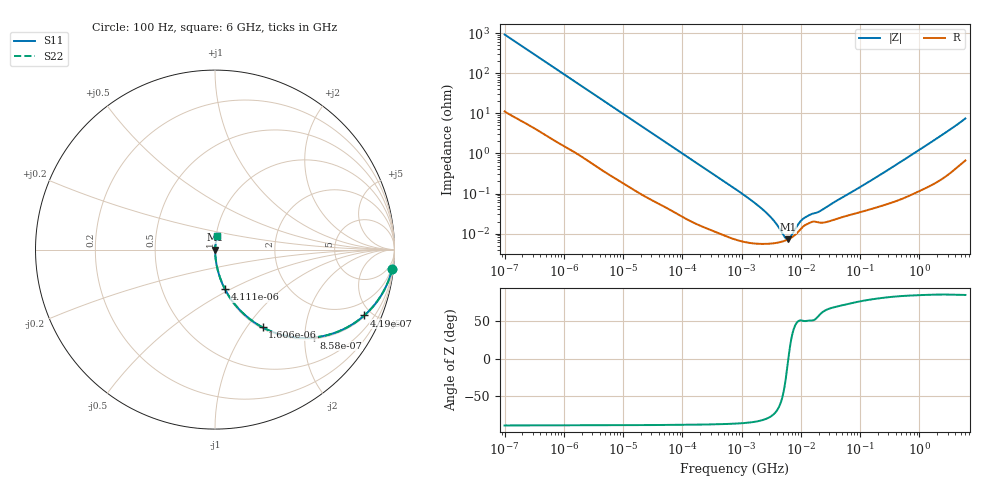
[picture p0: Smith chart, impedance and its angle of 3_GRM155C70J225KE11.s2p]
!Murata Part Number: GRM155C70J225KE11
!These Parameters are Measured in Series Mode Connection
!  o--ll--o
!Port1  Port2
!  o------o
!Operation Temp=25[C], DC Bias Voltage=0[V]
!Freq. Start=100[Hz] Stop=6000000000[Hz] 401[Steps]
# Hz S RI R 50
!Freq.(Hz) S11(Real) S11(Imag) S21(Real) S21(Imag) S12(Real) S12(Imag) S22(Real) S22(Imag)
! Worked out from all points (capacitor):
!   401 points, 100 Hz to 6 GHz, reference 50 ohm
!   read as one part in series: C = 1.7 uF near 109 Hz
!   lowest |Z| = 7.17 mohm at 6.075 MHz (marker M1)
!   series resonance near 6.167 MHz, so ESL is about 390 pH
!   S11 on the Smith chart (normalised r, x): 100 Hz: 1, -19; 419 Hz: 1.07, -4.50; 858 Hz: 1.03, -2.21; 1.606 kHz: 1.02, -1.19; 4.111 kHz: 1.01, -0.47; 6 GHz: 1.01, +0.15
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100  0.9874 -0.1058  0.0126 0.1058  0.0126 0.1058  0.9874 -0.1058
224  0.9434 -0.2245  0.0566 0.2245  0.0566 0.2245  0.9434 -0.2245
419  0.8316 -0.3669  0.1684 0.3669  0.1684 0.3669  0.8316 -0.3669
600  0.7108 -0.4459  0.2892 0.4459  0.2892 0.4459  0.7108 -0.4459
858  0.55 -0.4897  0.45 0.4897  0.45 0.4897  0.55 -0.4897
1606  0.2654 -0.4331  0.7346 0.4331  0.7346 0.4331  0.2654 -0.4331
2008  0.1898 -0.3836  0.8102 0.3836  0.8102 0.3836  0.1898 -0.3836
4111  0.0558 -0.221  0.9442 0.221  0.9442 0.221  0.0558 -0.221
11009  0.00943 -0.0877  0.9906 0.0877  0.9906 0.0877  0.00943 -0.0877
40335  0.00115 -0.0245  0.9988 0.0245  0.9988 0.0245  0.00115 -0.0245
774597  7.32e-05 -0.00132  0.9999 0.00132  0.9999 0.00132  7.32e-05 -0.00132
2481164  5.54e-05 -0.000353  0.9999 0.000353  0.9999 0.000353  5.54e-05 -0.000353
3394479  5.7e-05 -0.000215  0.9999 0.000215  0.9999 0.000215  5.7e-05 -0.000215
4856642  6.32e-05 -8.2e-05  0.9999 8.2e-05  0.9999 8.2e-05  6.32e-05 -8.2e-05
6075234  7.15e-05 -5e-06  0.9999 5e-06  0.9999 5e-06  7.15e-05 -5e-06
7266822  8.31e-05 5.63e-05  0.9999 -5.63e-05  0.9999 -5.63e-05  8.31e-05 5.63e-05
1.039699e7  0.000139 0.00017  0.9999 -0.00017  0.9999 -0.00017  0.000139 0.00017
1.555665e7  0.000197 0.000242  0.9998 -0.000242  0.9998 -0.000242  0.000197 0.000242
2.128304e7  0.000187 0.000315  0.9998 -0.000315  0.9998 -0.000315  0.000187 0.000315
3.124326e8  0.000581 0.00403  0.9994 -0.00403  0.9994 -0.00403  0.000581 0.00403
1.95892e9  0.00244 0.0233  0.9976 -0.0233  0.9976 -0.0233  0.00244 0.0233
6e9  0.0121 0.0733  0.9879 -0.0733  0.9879 -0.0733  0.0121 0.0733
